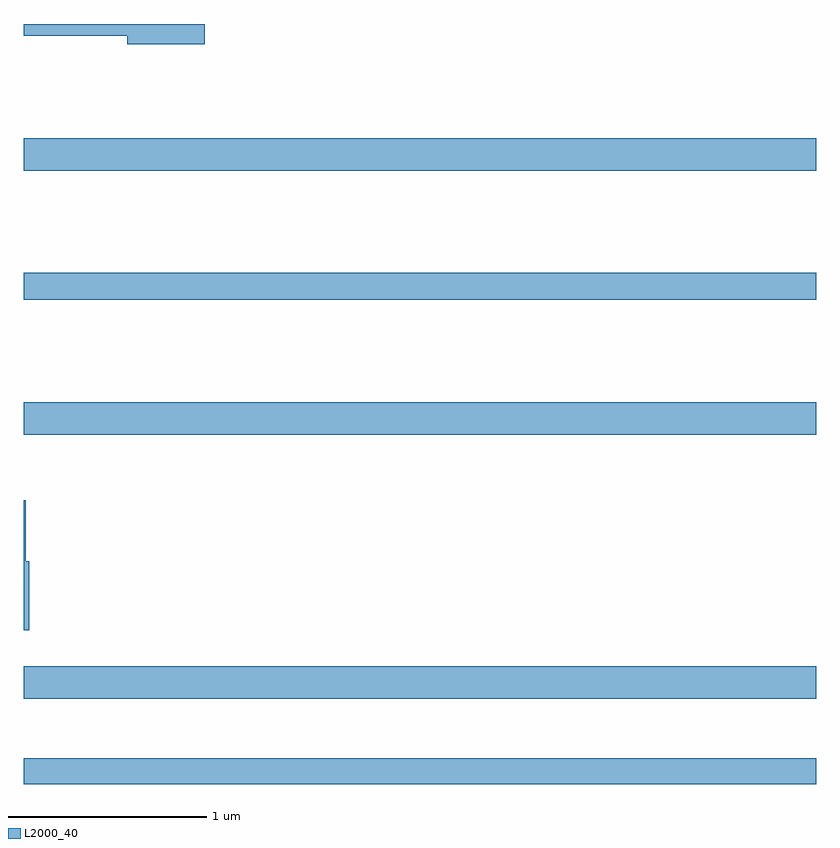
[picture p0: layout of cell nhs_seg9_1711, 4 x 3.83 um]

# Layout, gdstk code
import gdstk
lib = gdstk.Library(unit=1e-6, precision=1e-09)
def R(c, l, rs):  # rectangles x0, y0, x1, y1
    for r in rs: c.add(gdstk.rectangle(r[:2], r[2:], *l))
def A(c, l, x, y, w, h, nx, ny, dx, dy):  # array of equal rectangles
    R(c, l, [(x+i*dx, y+j*dy, x+i*dx+w, y+j*dy+h) for i in range(nx) for j in range(ny)])
def P(c, l, *ps):  # polygons
    for p in ps: c.add(gdstk.Polygon(p, *l))
L2000_40 = (2000, 40)

nhs_seg9_1711 = lib.new_cell('nhs_seg9_1711')
A(nhs_seg9_1711, L2000_40, 207, 1187.096, 4, 0.164, 1, 3, 0, 1.332)
R(nhs_seg9_1711, L2000_40, [(207,1186.666,211,1186.795), (207,1189.108,211,1189.244)])
P(nhs_seg9_1711, L2000_40, [(207.913,1190.5),(207,1190.5),(207,1190.44),(207.524,1190.44),(207.524,1190.398),(207.913,1190.398)],
  [(207.029,1187.79),(207.011,1187.79),(207.011,1188.097),(207,1188.097),(207,1187.442),(207.029,1187.442)])

lib.write_gds('nhs_seg9_1711.gds')
